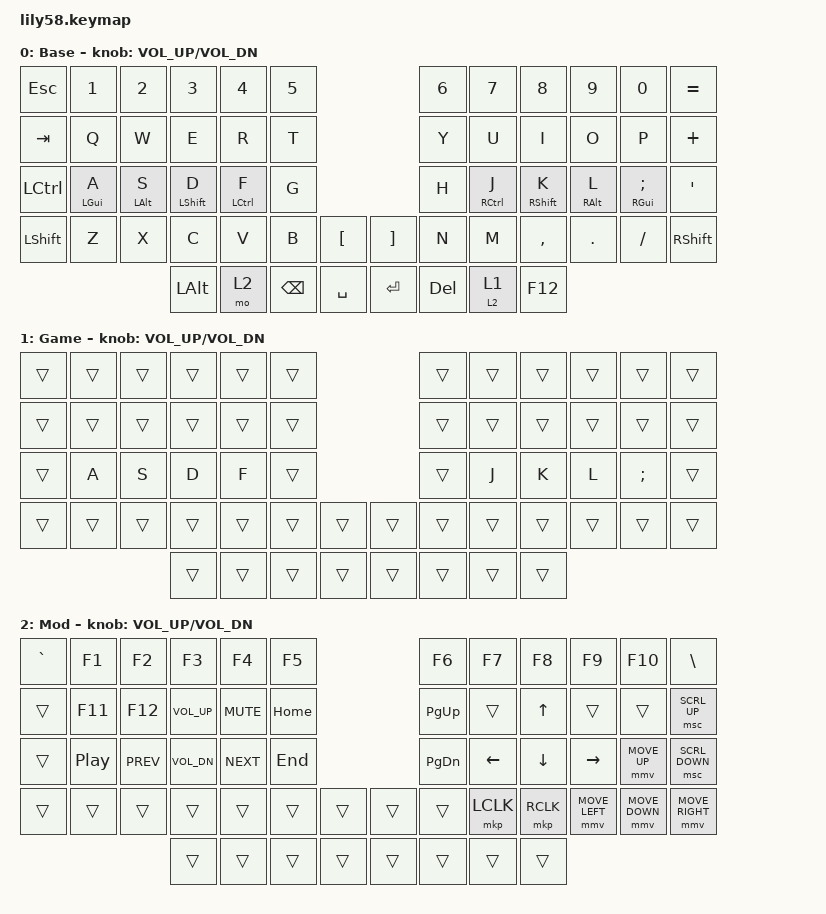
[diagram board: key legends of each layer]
/*
 * Copyright (c) 2020 The ZMK Contributors
 *
 * SPDX-License-Identifier: MIT
 */

#include <behaviors.dtsi>
#include <dt-bindings/zmk/keys.h>
#include <dt-bindings/zmk/bt.h>
#include <dt-bindings/zmk/ext_power.h>
#include <dt-bindings/zmk/pointing.h>

#define BASE  0
#define GAME  1
#define MOD   2

#define GA LGUI A
#define AS LALT S
#define SD LSHFT D
#define CF LCTRL F

#define CJ RCTRL J
#define SK RSHFT K
#define AL RALT L
#define GS RGUI SEMI

/ {
    behaviors {
        mo_tog: behavior_mo_tog {
            compatible = "zmk,behavior-hold-tap";
            #binding-cells = <2>;
            flavor = "hold-preferred";
            tapping-term-ms = <200>;
            bindings = <&mo>, <&tog>;
        };
    };
    
    keymap {
        compatible = "zmk,keymap";

        default_layer {
// ------------------------------------------------------------------------------------------------------------
// |  ESC  |  1  |  2  |  3   |  4   |  5   |                   |  6   |  7    |  8    |  9   |   0   |   =   |
// |  TAB  |  Q  |  W  |  E   |  R   |  T   |                   |  Y   |  U    |  I    |  O   |   P   |   +   |
// |  CTRL |  A  |  S  |  D   |  F   |  G   |                   |  H   |  J    |  K    |  L   |   ;   |   '   |
// | SHIFT |  Z  |  X  |  C   |  V   |  B   |   "["  |  |  "]"  |  N   |  M    |  ,    |  .   |   /   | SHIFT |
//                     | ALT  | MO2  | BSPC |  SPACE |  | ENTER |  DEL | MO2/1 | F12   |
            display-name = "Base";
            bindings = <
&kp ESC    &kp N1      &kp N2      &kp N3        &kp N4        &kp N5                          &kp N6   &kp N7        &kp N8        &kp N9       &kp N0         &kp EQUAL
&kp TAB    &kp Q       &kp W       &kp E         &kp R         &kp T                           &kp Y    &kp U         &kp I         &kp O        &kp P          &kp PLUS
&kp LCTRL  &mt LGUI A  &mt LALT S  &mt LSHFT D   &mt LCTRL F   &kp G                           &kp H    &mt RCTRL J   &mt RSHFT K   &mt RALT L   &mt RGUI SEMI  &kp SQT
&kp LSHFT  &kp Z       &kp X       &kp C         &kp V         &kp B    &kp LBKT    &kp RBKT   &kp N    &kp M         &kp COMMA     &kp DOT      &kp FSLH       &kp RSHFT
                                   &kp LALT      &mo 2         &kp BSPC &kp SPACE   &kp RET    &kp DEL  &mo_tog 2 1   &kp F12
            >;

            sensor-bindings = <&inc_dec_kp C_VOL_UP C_VOL_DN>;
        };

        game_layer {
// ------------------------------------------------------------------------------------------------------------
// | TRANS | TRANS| TRANS| TRANS | TRANS | TRANS |                      | TRANS | TRANS | TRANS | TRANS | TRANS | TRANS |
// | TRANS | TRANS| TRANS| TRANS | TRANS | TRANS |                      | TRANS | TRANS | TRANS | TRANS | TRANS | TRANS |
// | TRANS |  A   |  S   |  D    |  F    | TRANS |                      | TRANS |  J    |  K    |  L    |   ;   | TRANS |
// | TRANS | TRANS| TRANS| TRANS | TRANS | TRANS | TRANS  |  |  TRANS  | TRANS | TRANS | TRANS | TRANS | TRANS | TRANS |
//                       | TRANS | TRANS | TRANS | TRANS  |  |  TRANS  | TRANS | TRANS | TRANS |
            display-name = "Game";
            bindings = <
&trans     &trans      &trans      &trans        &trans        &trans                          &trans   &trans        &trans        &trans       &trans        &trans
&trans     &trans      &trans      &trans        &trans        &trans                          &trans   &trans        &trans        &trans       &trans        &trans
&trans     &kp A       &kp S       &kp D         &kp F         &trans                          &trans   &kp J         &kp K         &kp L        &kp SEMI      &trans
&trans     &trans      &trans      &trans        &trans        &trans   &trans     &trans     &trans   &trans        &trans        &trans       &trans        &trans
                                   &trans        &trans        &trans   &trans     &trans     &trans   &trans        &trans
            >;

            sensor-bindings = <&inc_dec_kp C_VOL_UP C_VOL_DN>;
        };

        mod_layer {
// ------------------------------------------------------------------------------------------------------------
// | GRAVE | F1   | F2   |  F3   |  F4   |  F5   |                   |  F6   |  F7    |  F8    |  F9    |  F10   |   \   |
// | TRANS | F11  | F12  | VOL+  | MUTE  | HOME  |                   | PGUP  | TRANS  |  UP    | TRANS  | TRANS  | SCRL↑ |
// | TRANS | PLAY | PREV | VOL-  | NEXT  | END   |                   | PGDN  | LEFT   | DOWN   | RIGHT  | MV_UP  | SCRL↓ |
// | TRANS | TRANS| TRANS| TRANS | TRANS | TRANS | TRANS  |  | TRANS | TRANS | LCLK   | RCLK   | MV_LFT | MV_DN  | MV_RGT|
//                       | TRANS | TRANS | TRANS | TRANS  |  | TRANS | TRANS | TRANS  | TRANS  |
            display-name = "Mod";
            bindings = <
&kp GRAVE  &kp F1      &kp F2        &kp F3        &kp F4        &kp F5                          &kp F6     &kp F7        &kp F8        &kp F9          &kp F10         &kp BSLH
&trans     &kp F11     &kp F12       &kp C_VOL_UP  &kp C_MUTE    &kp HOME                        &kp PG_UP  &trans        &kp UP        &trans          &trans          &msc SCRL_UP
&trans     &kp C_PP    &kp C_PREV    &kp C_VOL_DN  &kp C_NEXT    &kp END                         &kp PG_DN  &kp LEFT      &kp DOWN      &kp RIGHT       &mmv MOVE_UP    &msc SCRL_DOWN
&trans     &trans      &trans        &trans        &trans        &trans   &trans     &trans     &trans     &mkp LCLK     &mkp RCLK     &mmv MOVE_LEFT  &mmv MOVE_DOWN  &mmv MOVE_RIGHT
                                     &trans        &trans        &trans   &trans     &trans     &trans     &trans        &trans
            >;

            sensor-bindings = <&inc_dec_kp C_VOL_UP C_VOL_DN>;
        };

    };
};
